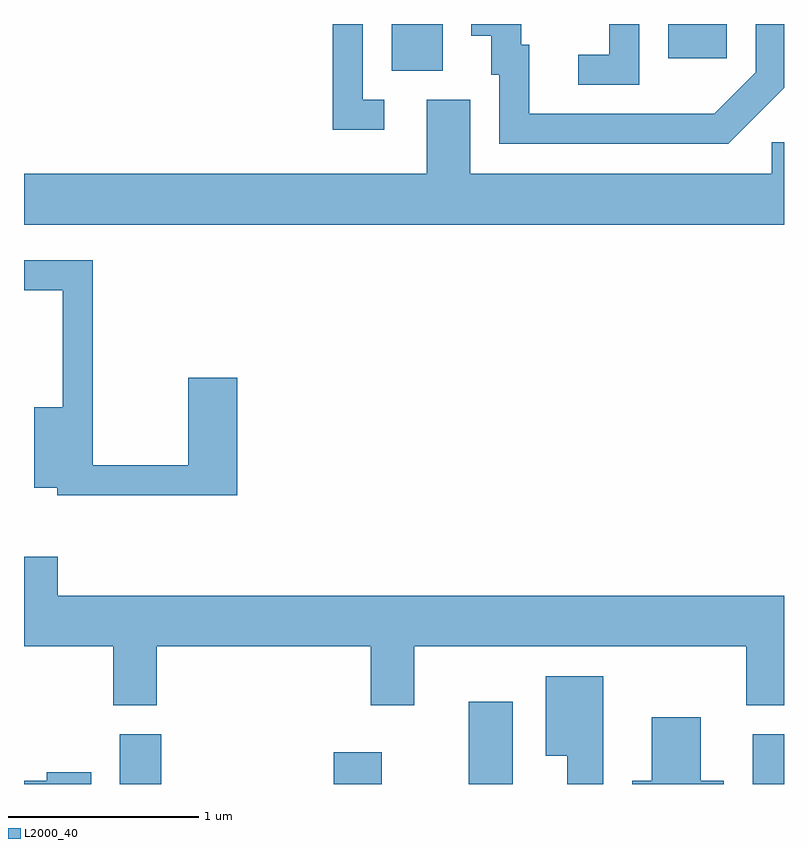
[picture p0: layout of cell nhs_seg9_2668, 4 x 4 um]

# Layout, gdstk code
import gdstk
lib = gdstk.Library(unit=1e-6, precision=1e-09)
def R(c, l, rs):  # rectangles x0, y0, x1, y1
    for r in rs: c.add(gdstk.rectangle(r[:2], r[2:], *l))
def P(c, l, *ps):  # polygons
    for p in ps: c.add(gdstk.Polygon(p, *l))
L2000_40 = (2000, 40)

nhs_seg9_2668 = lib.new_cell('nhs_seg9_2668')
R(nhs_seg9_2668, L2000_40, [(264.116,1984.432,264.334,1984.694), (265.241,1984.432,265.494,1984.599), (265.951,1984.432,266.184,1984.864), (267.446,1984.432,267.611,1984.694), (265.546,1988.186,265.814,1988.432), (267.001,1988.251,267.309,1988.432)])
P(nhs_seg9_2668, L2000_40, [(266.849,1988.432),(266.691,1988.432),(266.691,1988.269),(266.528,1988.269),(266.528,1988.111),(266.849,1988.111)],
  [(267.611,1988.096),(267.611,1988.432),(267.461,1988.432),(267.461,1988.177),(267.244,1987.959),(266.269,1987.959),(266.269,1988.324),(266.229,1988.324),(266.229,1988.432),(265.966,1988.432),(265.966,1988.371),(266.071,1988.371),(266.071,1988.166),(266.111,1988.166),(266.111,1987.801),(267.317,1987.801)],
  [(265.508,1988.034),(265.394,1988.034),(265.394,1988.432),(265.236,1988.432),(265.236,1987.876),(265.508,1987.876)],
  [(267.611,1987.809),(267.546,1987.809),(267.546,1987.644),(265.959,1987.644),(265.959,1988.034),(265.731,1988.034),(265.731,1987.644),(263.611,1987.644),(263.611,1987.376),(267.611,1987.376)],
  [(264.734,1986.569),(264.476,1986.569),(264.476,1986.109),(263.974,1986.109),(263.974,1987.189),(263.611,1987.189),(263.611,1987.031),(263.816,1987.031),(263.816,1986.414),(263.666,1986.414),(263.666,1985.991),(263.786,1985.991),(263.786,1985.951),(264.734,1985.951)],
  [(264.309,1985.156),(265.436,1985.156),(265.436,1984.846),(265.664,1984.846),(265.664,1985.156),(267.411,1985.156),(267.411,1984.846),(267.611,1984.846),(267.611,1985.424),(263.789,1985.424),(263.789,1985.629),(263.611,1985.629),(263.611,1985.156),(264.081,1985.156),(264.081,1984.846),(264.309,1984.846)],
  [(266.659,1984.999),(266.356,1984.999),(266.356,1984.581),(266.471,1984.581),(266.471,1984.432),(266.659,1984.432)],
  [(267.294,1984.449),(267.174,1984.449),(267.174,1984.784),(266.916,1984.784),(266.916,1984.449),(266.811,1984.449),(266.811,1984.432),(267.294,1984.432)],
  [(263.964,1984.494),(263.731,1984.494),(263.731,1984.449),(263.611,1984.449),(263.611,1984.432),(263.964,1984.432)])

lib.write_gds('nhs_seg9_2668.gds')
